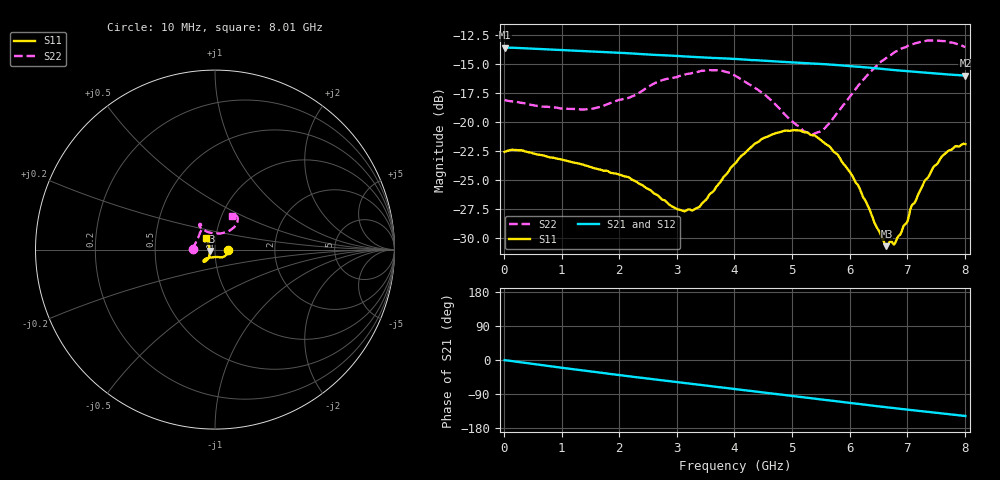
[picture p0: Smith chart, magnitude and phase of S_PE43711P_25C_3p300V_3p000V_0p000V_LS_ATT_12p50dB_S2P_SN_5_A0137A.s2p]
! Device ID: PE43711P
! File Path: z:\PE43711P\CHAR_NOM_04282014\AMB\3p300\LS_ATT_12p50dB\PE43711P_AMB_3p300V_3p000V_0p000V_LS_ATT_12p50dB_S2P_SN_5_A0137A.s2p
! Serial: 5
! Lot: A0137A
! Temp: 25C
! VDD: 3.300
! VSS: 0.000
! Control_Hi: 3.000
! Control_Lo: 0.000
! Attenuation Step: 12.50dB
! Port 1: RF1
! Port 2: RF2
! ThroughPath:1-2
! IDD: 0.0001277644
! ISS: -1.096e-007
#  Hz  S  RI  R  50
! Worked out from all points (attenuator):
!   801 points, 10 MHz to 8.01 GHz, reference 50 ohm
!   highest |S21| = -13.62 dB at 10 MHz (marker M1); lowest = -16.0 dB at 8.01 GHz (marker M2)
!   lowest |S11| = -30.7 dB at 6.64 GHz (marker M3), VSWR 1.06, Z = 47.2 - j0.711 ohm
!   |S11| at or under -10 dB: start of sweep to end of sweep
!   |S22| runs from -21.1 to -13.0 dB; largest |S21 - S12| = 0.00041
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1e7  0.0743 -9.13e-05  0.2084 -0.000974  0.2086 -0.00107  -0.1242 0.000918
3.1e8  0.0745 -0.0119  0.2059 -0.0241  0.206 -0.024  -0.1201 0.0109
1.35e9  0.054 -0.0374  0.1794 -0.0922  0.1796 -0.0923  -0.0996 0.0532
2.15e9  0.038 -0.0438  0.145 -0.1333  0.1452 -0.1333  -0.0813 0.0969
2.68e9  0.0233 -0.042  0.1181 -0.1533  0.1182 -0.1534  -0.0767 0.128
3.02e9  0.00886 -0.0411  0.0996 -0.1639  0.0997 -0.164  -0.0772 0.1361
3.3e9  -0.00529 -0.0417  0.0837 -0.1704  0.0837 -0.1705  -0.0798 0.1422
3.69e9  -0.0282 -0.0446  0.0615 -0.1775  0.0614 -0.1775  -0.086 0.1426
4.01e9  -0.0451 -0.0484  0.0423 -0.1812  0.0422 -0.1814  -0.0869 0.132
4.34e9  -0.0585 -0.0546  0.0228 -0.1827  0.0228 -0.1827  -0.075 0.119
4.69e9  -0.064 -0.0617  0.00231 -0.1819  0.00221 -0.1819  -0.0568 0.106
5.08e9  -0.0626 -0.0673  -0.0198 -0.1783  -0.0199 -0.1784  -0.0243 0.0938
5.35e9  -0.0573 -0.0662  -0.0346 -0.1746  -0.0346 -0.1748  0.00324 0.0883
5.57e9  -0.0505 -0.0631  -0.0465 -0.1706  -0.0465 -0.1706  0.0289 0.0895
6.01e9  -0.0369 -0.0482  -0.0688 -0.1593  -0.069 -0.1594  0.0762 0.1039
6.64e9  -0.0283 -0.00752  -0.0957 -0.1381  -0.0956 -0.1384  0.1204 0.1448
6.68e9  -0.0298 -0.00411  -0.0971 -0.1368  -0.097 -0.137  0.1215 0.1484
6.87e9  -0.0316 0.00846  -0.1037 -0.1296  -0.1036 -0.1298  0.1259 0.1605
7.09e9  -0.0368 0.0243  -0.1109 -0.1213  -0.1109 -0.1214  0.1259 0.1745
7.46e9  -0.0445 0.0461  -0.1213 -0.1066  -0.1214 -0.1066  0.1155 0.1913
7.7e9  -0.0497 0.0557  -0.1271 -0.0969  -0.1271 -0.0967  0.1044 0.1951
8.01e9  -0.0511 0.0619  -0.1337 -0.0842  -0.134 -0.0839  0.0929 0.1875
